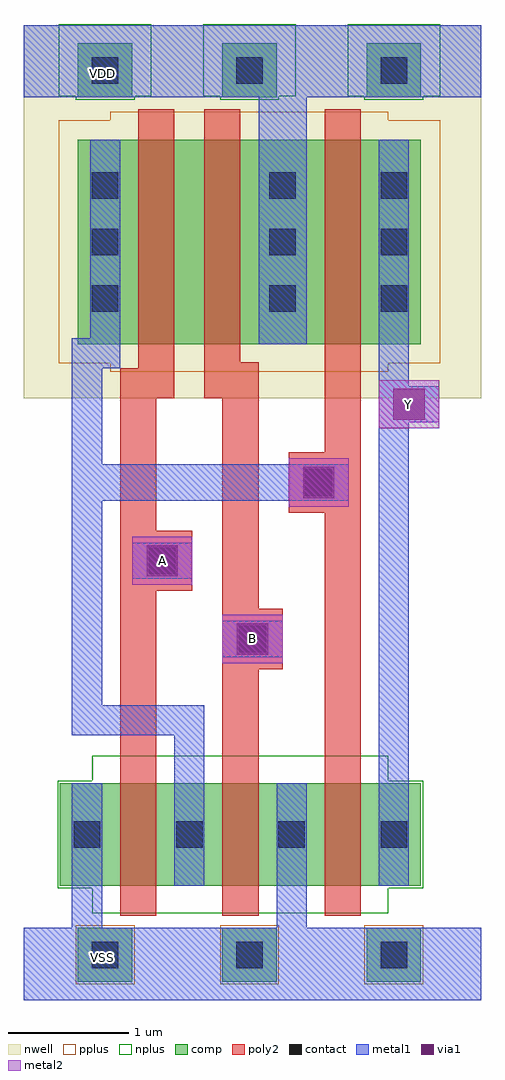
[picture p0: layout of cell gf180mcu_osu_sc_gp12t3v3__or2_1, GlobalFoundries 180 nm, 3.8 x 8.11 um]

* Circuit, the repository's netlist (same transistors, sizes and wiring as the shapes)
* Copyright 2022 Google LLC
*
* Licensed under the Apache License, Version 2.0 (the "License");
* you may not use this file except in compliance with the License.
* You may obtain a copy of the License at
*
*      http://www.apache.org/licenses/LICENSE-2.0
*
* Unless required by applicable law or agreed to in writing, software
* distributed under the License is distributed on an "AS IS" BASIS,
* WITHOUT WARRANTIES OR CONDITIONS OF ANY KIND, either express or implied.
* See the License for the specific language governing permissions and
* limitations under the License.

.inc "/import/yukari1/lrburle/OSU_180/char/techfiles/design.hspice"
.lib "/import/yukari1/lrburle/OSU_180/char/techfiles/sm141064.hspice" typical

.GLOBAL VDD
.GLOBAL VSS

.option scale=0.05u

.subckt gf180mcu_osu_sc_gp12t3v3__or2_1 B A Y
X0 VDD B a_25_109 VDD pmos_3p3 w=34 l=6
X1 a_25_109 A a_9_109 VDD pmos_3p3 w=34 l=6
X2 Y a_9_109 VSS VSS nmos_3p3 w=17 l=6
X3 a_9_109 A VSS VSS nmos_3p3 w=17 l=6
X4 Y a_9_109 VDD VDD pmos_3p3 w=34 l=6
X5 VSS B a_9_109 VSS nmos_3p3 w=17 l=6
.ends

** hspice subcircuit dictionary

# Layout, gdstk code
import gdstk
lib = gdstk.Library(unit=1e-6, precision=1e-09)
def R(c, l, rs):  # rectangles x0, y0, x1, y1
    for r in rs: c.add(gdstk.rectangle(r[:2], r[2:], *l))
def A(c, l, x, y, w, h, nx, ny, dx, dy):  # array of equal rectangles
    R(c, l, [(x+i*dx, y+j*dy, x+i*dx+w, y+j*dy+h) for i in range(nx) for j in range(ny)])
nwell = (21, 0)
comp = (22, 0)
poly2 = (30, 0)
pplus = (31, 0)
nplus = (32, 0)
contact = (33, 0)
metal1 = (34, 0)
via1 = (35, 0)
metal2 = (36, 0)

gf180mcu_osu_sc_gp12t3v3 = lib.new_cell('gf180mcu_osu_sc_gp12t3v3__or2_1')
R(gf180mcu_osu_sc_gp12t3v3, nwell, [(0,5,3.8,8.1)])
A(gf180mcu_osu_sc_gp12t3v3, comp, 0.45, 0.15, 0.45, 0.45, 3, 2, 1.2, 7.35)
R(gf180mcu_osu_sc_gp12t3v3, comp, [(0.3,0.95,3.3,1.8), (0.45,5.45,3.3,7.15)])
R(gf180mcu_osu_sc_gp12t3v3, poly2, [(0.8,0.7,1.1,3.4), (1.65,0.7,1.95,2.75), (2.5,0.7,2.8,4.05), (1.65,2.75,2.15,3.25), (1.65,3.25,1.95,5), (0.8,3.4,1.4,3.9), (0.8,3.9,1.1,5), (2.2,4.05,2.8,4.55), (2.5,4.55,2.8,7.4), (0.8,5,1.25,5.25), (1.5,5,1.95,5.3), (0.95,5.25,1.25,7.4), (1.5,5.3,1.8,7.4)])
A(gf180mcu_osu_sc_gp12t3v3, pplus, 0.43, 0.13, 0.49, 0.49, 3, 1, 1.2, 0)
R(gf180mcu_osu_sc_gp12t3v3, pplus, [(0.72,5.22,3.03,5.29), (0.29,5.29,3.46,7.31), (0.72,7.31,3.03,7.38)])
A(gf180mcu_osu_sc_gp12t3v3, nplus, 0.43, 7.48, 0.49, 0.03, 3, 1, 1.2, 0)
A(gf180mcu_osu_sc_gp12t3v3, nplus, 0.29, 7.51, 0.77, 0.6, 3, 1, 1.2, 0)
R(gf180mcu_osu_sc_gp12t3v3, nplus, [(0.57,0.72,3.03,0.93), (0.28,0.93,3.32,1.82), (0.57,1.82,3.03,2.03)])
A(gf180mcu_osu_sc_gp12t3v3, contact, 0.565, 0.265, 0.22, 0.22, 3, 2, 1.2, 7.35)
A(gf180mcu_osu_sc_gp12t3v3, contact, 0.415, 1.265, 0.22, 0.22, 4, 1, 0.85, 0)
A(gf180mcu_osu_sc_gp12t3v3, contact, 0.565, 5.72, 0.22, 0.22, 1, 3, 0, 0.47)
A(gf180mcu_osu_sc_gp12t3v3, contact, 2.04, 5.72, 0.22, 0.22, 1, 3, 0, 0.47)
A(gf180mcu_osu_sc_gp12t3v3, contact, 2.965, 5.72, 0.22, 0.22, 1, 3, 0, 0.47)
R(gf180mcu_osu_sc_gp12t3v3, contact, [(1.79,2.89,2.01,3.11), (1.04,3.54,1.26,3.76), (2.34,4.19,2.56,4.41)])
R(gf180mcu_osu_sc_gp12t3v3, metal1, [(0,0,3.8,0.6), (0.4,0.6,0.65,1.8), (2.1,0.6,2.35,1.8), (1.25,0.95,1.5,2.2), (2.95,0.95,3.2,4.8), (0.4,2.2,1.5,2.45), (0.4,2.45,0.65,4.15), (1.65,2.85,2.15,3.15), (0.9,3.5,1.4,3.8), (0.4,4.15,2.7,4.45), (0.4,4.45,0.65,5.25), (2.95,4.8,3.45,5.1), (2.95,5.1,3.2,7.15), (0.4,5.25,0.8,5.5), (1.95,5.45,2.35,7.5), (0.55,5.5,0.8,7.15), (0,7.5,3.8,8.1)])
R(gf180mcu_osu_sc_gp12t3v3, via1, [(1.77,2.87,2.03,3.13), (1.02,3.52,1.28,3.78), (2.32,4.17,2.58,4.43), (3.07,4.82,3.33,5.08)])
R(gf180mcu_osu_sc_gp12t3v3, metal2, [(1.65,2.8,2.15,3.2), (0.9,3.45,1.4,3.85), (2.2,4.1,2.7,4.5), (2.95,4.75,3.45,5.15)])
gf180mcu_osu_sc_gp12t3v3.add(gdstk.Label('VDD', (0.65,7.7), layer=34, texttype=0))
gf180mcu_osu_sc_gp12t3v3.add(gdstk.Label('VSS', (0.65,0.35), layer=34, texttype=0))
gf180mcu_osu_sc_gp12t3v3.add(gdstk.Label('B', (1.9,3), layer=36, texttype=10))
gf180mcu_osu_sc_gp12t3v3.add(gdstk.Label('A', (1.15,3.65), layer=36, texttype=10))
gf180mcu_osu_sc_gp12t3v3.add(gdstk.Label('Y', (3.2,4.95), layer=36, texttype=10))

lib.write_gds('gf180mcu_osu_sc_gp12t3v3__or2_1.gds')
